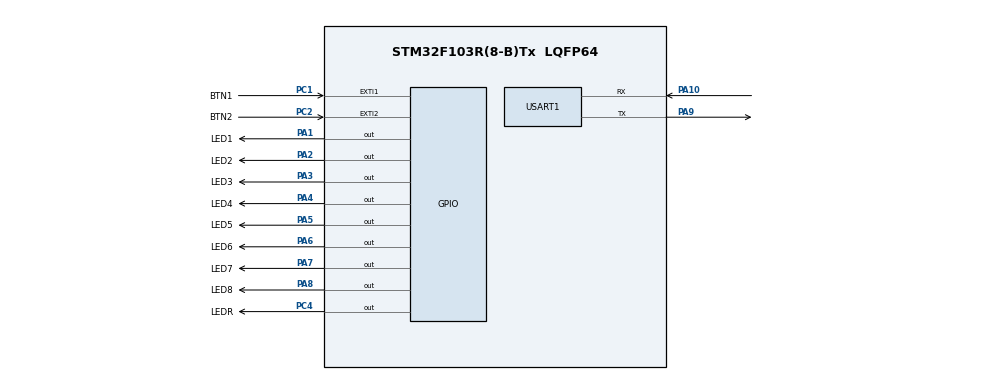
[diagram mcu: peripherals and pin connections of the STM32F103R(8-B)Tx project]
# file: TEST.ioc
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Mcu.Family=STM32F1
Mcu.Name=STM32F103R(8-B)Tx
Mcu.Package=LQFP64
NVIC.EXTI1_IRQn=true\:0\:0\:false\:false\:true\:true\:true\:true
NVIC.EXTI2_IRQn=true\:0\:0\:false\:false\:true\:true\:true\:true
NVIC.PriorityGroup=NVIC_PRIORITYGROUP_4
PA1.GPIO_Label=LED1
PA1.GPIO_ModeDefaultOutputPP=GPIO_MODE_OUTPUT_PP
PA1.GPIO_PuPd=GPIO_NOPULL
PA1.PinState=GPIO_PIN_SET
PA1.Signal=GPIO_Output
PA10.Mode=Asynchronous
PA10.Signal=USART1_RX
PA13.Mode=Trace_Asynchronous_SW
PA13.Signal=SYS_JTMS-SWDIO
PA14.Mode=Trace_Asynchronous_SW
PA14.Signal=SYS_JTCK-SWCLK
PA2.GPIO_Label=LED2
PA2.PinState=GPIO_PIN_SET
PA2.Signal=GPIO_Output
PA3.GPIO_Label=LED3
PA3.PinState=GPIO_PIN_SET
PA3.Signal=GPIO_Output
PA4.GPIO_Label=LED4
PA4.PinState=GPIO_PIN_SET
PA4.Signal=GPIO_Output
PA5.GPIO_Label=LED5
PA5.PinState=GPIO_PIN_SET
PA5.Signal=GPIO_Output
PA6.GPIO_Label=LED6
PA6.PinState=GPIO_PIN_SET
PA6.Signal=GPIO_Output
PA7.GPIO_Label=LED7
PA7.PinState=GPIO_PIN_SET
PA7.Signal=GPIO_Output
PA8.GPIO_Label=LED8
PA8.PinState=GPIO_PIN_SET
PA8.Signal=GPIO_Output
PA9.Mode=Asynchronous
PA9.Signal=USART1_TX
PB3.Mode=Trace_Asynchronous_SW
PB3.Signal=SYS_JTDO-TRACESWO
PC1.GPIO_Label=BTN1
PC1.GPIO_ModeDefaultEXTI=GPIO_MODE_IT_RISING
PC1.GPIO_PuPd=GPIO_PULLDOWN
PC1.Signal=GPXTI1
PC2.GPIO_Label=BTN2
PC2.GPIO_PuPd=GPIO_PULLDOWN
PC2.Signal=GPXTI2
PC4.GPIO_Label=LEDR
PC4.Signal=GPIO_Output
ProjectManager.HeapSize=0x200
ProjectManager.StackSize=0x400
ProjectManager.TargetToolchain=STM32CubeIDE
RCC.APB1Freq_Value=8000000
RCC.APB2Freq_Value=8000000
USART1.VirtualMode=VM_ASYNC
board=custom

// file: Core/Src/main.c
/* USER CODE BEGIN Header */
/**
  ******************************************************************************
  * @file           : main.c
  * @brief          : Main program body
  ******************************************************************************
  * @attention
  *
  * Copyright (c) 2025 STMicroelectronics.
  * All rights reserved.
  *
  * This software is licensed under terms that can be found in the LICENSE file
  * in the root directory of this software component.
  * If no LICENSE file comes with this software, it is provided AS-IS.
  *
  ******************************************************************************
  */
/* USER CODE END Header */
#include "main.h"

/* USER CODE BEGIN Includes */
#include <stdio.h>
#include <stdbool.h>

/* USER CODE END Includes */

UART_HandleTypeDef huart1;

void SystemClock_Config(void);
static void MX_GPIO_Init(void);
static void MX_USART1_UART_Init(void);

/* USER CODE BEGIN 0 */

uint8_t Ledstatus;
//----------------------------------------------------------------------
// Send printf to uart1
int _write(int fd, char* ptr, int len) {
  HAL_StatusTypeDef hstatus;

  if (fd == 1 || fd == 2) {
    hstatus = HAL_UART_Transmit(&huart1, (uint8_t *) ptr, len, HAL_MAX_DELAY);
    if (hstatus == HAL_OK)
      return len;
    else
      return -1;
  }
  return -1;
}
//----------------------------------------------------------------------
GPIO_TypeDef* ports[] = {LED1_GPIO_Port, LED2_GPIO_Port, LED3_GPIO_Port, LED4_GPIO_Port,
                           LED5_GPIO_Port, LED6_GPIO_Port, LED7_GPIO_Port, LED8_GPIO_Port};
uint16_t pins[] = {LED1_Pin, LED2_Pin, LED3_Pin, LED4_Pin,
                     LED5_Pin, LED6_Pin, LED7_Pin, LED8_Pin};
//----------------------------------------------------------------------
uint8_t Ledstatus;
void prinLedStatus()
{

  for (int i = 0; i < 8; i++)
  {
	if (Ledstatus & (1 << i))
	{
		HAL_GPIO_WritePin(ports[i], pins[i], GPIO_PIN_SET);
	}else
	{
		HAL_GPIO_WritePin(ports[i], pins[i], GPIO_PIN_RESET);
	}
  }

}
//-----------------------------------------------------------------------------
void HandleButtons(uint16_t GPIO_Pin)
{
    if (Ledstatus == 0)
    {
        Ledstatus = 1;
    }
    if (GPIO_Pin == BTN1_Pin)
    {
        Ledstatus <<= 1;
        if (Ledstatus == 0) Ledstatus = 1;
    }
    else if (GPIO_Pin == BTN2_Pin)
    {
        Ledstatus >>= 1;
        if (Ledstatus == 0) Ledstatus = 0x80;
    }
}

//--------------------------------------------------------------------------
void HAL_GPIO_EXTI_Callback(uint16_t PGIO_Pin)
{
	HandleButtons(PGIO_Pin);
}
//--------------------------------------------------------------------------

/* USER CODE END 0 */

int main(void)
{

  /* MCU Configuration--------------------------------------------------------*/

  /* Reset of all peripherals, Initializes the Flash interface and the Systick. */
  HAL_Init();

  /* Configure the system clock */
  SystemClock_Config();

  /* Initialize all configured peripherals */
  MX_GPIO_Init();
  MX_USART1_UART_Init();

  /* Infinite loop */
  /* USER CODE BEGIN WHILE */

  bool f_iter = false;
  int iter = 0;
  Ledstatus = 0;
  while (1)
  {

	  if((iter%2) == 0)
	  {
		  HAL_GPIO_TogglePin(LEDR_GPIO_Port, LEDR_Pin);
	  }
	  else
	  {
		 /*
		  * if(f_iter)
		  {
			  Ledstatus = 0x55;
		  }
		  else
		  {
			  Ledstatus = 0xAA;
		  }
		  */
		  prinLedStatus();
		  f_iter = !f_iter;
	  }
	  iter++;
	  HAL_Delay(500);
    /* USER CODE END WHILE */

  }
}

void SystemClock_Config(void)
{
  RCC_OscInitTypeDef RCC_OscInitStruct = {0};
  RCC_ClkInitTypeDef RCC_ClkInitStruct = {0};

  /** Initializes the RCC Oscillators according to the specified parameters
  * in the RCC_OscInitTypeDef structure.
  */
  RCC_OscInitStruct.OscillatorType = RCC_OSCILLATORTYPE_HSI;
  RCC_OscInitStruct.HSIState = RCC_HSI_ON;
  RCC_OscInitStruct.HSICalibrationValue = RCC_HSICALIBRATION_DEFAULT;
  RCC_OscInitStruct.PLL.PLLState = RCC_PLL_NONE;
  if (HAL_RCC_OscConfig(&RCC_OscInitStruct) != HAL_OK)
  {
    Error_Handler();
  }

  /** Initializes the CPU, AHB and APB buses clocks
  */
  RCC_ClkInitStruct.ClockType = RCC_CLOCKTYPE_HCLK|RCC_CLOCKTYPE_SYSCLK
                              |RCC_CLOCKTYPE_PCLK1|RCC_CLOCKTYPE_PCLK2;
  RCC_ClkInitStruct.SYSCLKSource = RCC_SYSCLKSOURCE_HSI;
  RCC_ClkInitStruct.AHBCLKDivider = RCC_SYSCLK_DIV1;
  RCC_ClkInitStruct.APB1CLKDivider = RCC_HCLK_DIV1;
  RCC_ClkInitStruct.APB2CLKDivider = RCC_HCLK_DIV1;

  if (HAL_RCC_ClockConfig(&RCC_ClkInitStruct, FLASH_LATENCY_0) != HAL_OK)
  {
    Error_Handler();
  }
}

static void MX_USART1_UART_Init(void)
{

  huart1.Instance = USART1;
  huart1.Init.BaudRate = 115200;
  huart1.Init.WordLength = UART_WORDLENGTH_8B;
  huart1.Init.StopBits = UART_STOPBITS_1;
  huart1.Init.Parity = UART_PARITY_NONE;
  huart1.Init.Mode = UART_MODE_TX_RX;
  huart1.Init.HwFlowCtl = UART_HWCONTROL_NONE;
  huart1.Init.OverSampling = UART_OVERSAMPLING_16;
  if (HAL_UART_Init(&huart1) != HAL_OK)
  {
    Error_Handler();
  }

}

static void MX_GPIO_Init(void)
{
  GPIO_InitTypeDef GPIO_InitStruct = {0};

  /* GPIO Ports Clock Enable */
  __HAL_RCC_GPIOC_CLK_ENABLE();
  __HAL_RCC_GPIOA_CLK_ENABLE();
  __HAL_RCC_GPIOB_CLK_ENABLE();

  /*Configure GPIO pin Output Level */
  HAL_GPIO_WritePin(GPIOA, LED1_Pin|LED2_Pin|LED3_Pin|LED4_Pin
                          |LED5_Pin|LED6_Pin|LED7_Pin|LED8_Pin, GPIO_PIN_SET);

  /*Configure GPIO pin Output Level */
  HAL_GPIO_WritePin(LEDR_GPIO_Port, LEDR_Pin, GPIO_PIN_RESET);

  /*Configure GPIO pins : BTN1_Pin BTN2_Pin */
  GPIO_InitStruct.Pin = BTN1_Pin|BTN2_Pin;
  GPIO_InitStruct.Mode = GPIO_MODE_IT_RISING;
  GPIO_InitStruct.Pull = GPIO_PULLDOWN;
  HAL_GPIO_Init(GPIOC, &GPIO_InitStruct);

  /*Configure GPIO pins : LED1_Pin LED2_Pin LED3_Pin LED4_Pin
                           LED5_Pin LED6_Pin LED7_Pin LED8_Pin */
  GPIO_InitStruct.Pin = LED1_Pin|LED2_Pin|LED3_Pin|LED4_Pin
                          |LED5_Pin|LED6_Pin|LED7_Pin|LED8_Pin;
  GPIO_InitStruct.Mode = GPIO_MODE_OUTPUT_PP;
  GPIO_InitStruct.Pull = GPIO_NOPULL;
  GPIO_InitStruct.Speed = GPIO_SPEED_FREQ_LOW;
  HAL_GPIO_Init(GPIOA, &GPIO_InitStruct);

  /*Configure GPIO pin : LEDR_Pin */
  GPIO_InitStruct.Pin = LEDR_Pin;
  GPIO_InitStruct.Mode = GPIO_MODE_OUTPUT_PP;
  GPIO_InitStruct.Pull = GPIO_NOPULL;
  GPIO_InitStruct.Speed = GPIO_SPEED_FREQ_LOW;
  HAL_GPIO_Init(LEDR_GPIO_Port, &GPIO_InitStruct);

  /* EXTI interrupt init*/
  HAL_NVIC_SetPriority(EXTI1_IRQn, 0, 0);
  HAL_NVIC_EnableIRQ(EXTI1_IRQn);

  HAL_NVIC_SetPriority(EXTI2_IRQn, 0, 0);
  HAL_NVIC_EnableIRQ(EXTI2_IRQn);

}

void Error_Handler(void)
{
  __disable_irq();
  while (1)
  {
  }
}
